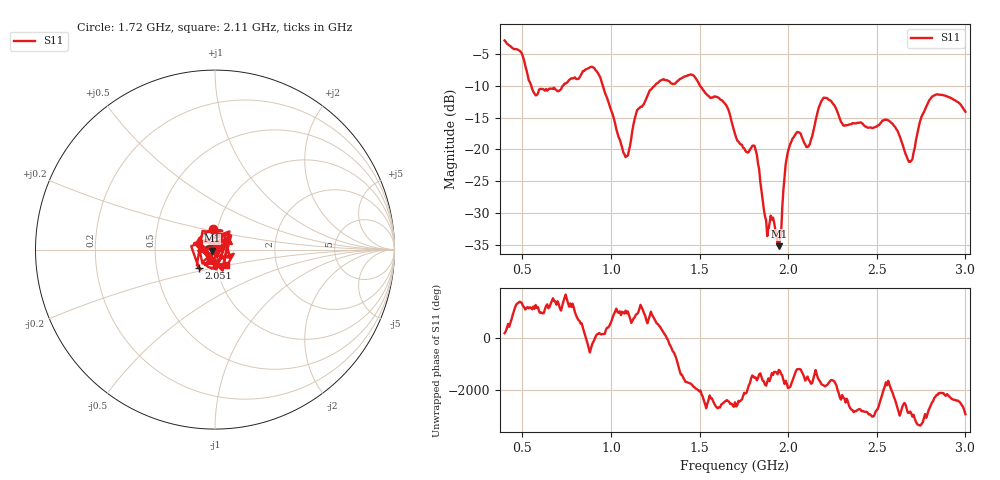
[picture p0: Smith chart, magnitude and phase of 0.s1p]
!Created with skrf (http://scikit-rf.org).
# Hz S RI R 50.0
!freq ReS11 ImS11
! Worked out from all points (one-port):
!   401 points, 400 MHz to 3 GHz, reference 50 ohm
!   lowest |S11| = -35.2 dB at 1.947 GHz (marker M1), VSWR 1.04, Z = 48.4 - j0.624 ohm
!   |S11| at or under -10 dB: 550.7 MHz to 728 MHz (177.3 MHz wide, 27.7 % of centre); 954 MHz to 1.246 GHz (291.7 MHz wide, 26.5 % of centre); 1.503 GHz to end of sweep
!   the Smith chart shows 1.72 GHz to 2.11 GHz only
!   S11 on the Smith chart (normalised r, x): 1.72 GHz: 0.95, +0.22; 2.051 GHz: 0.82, -0.17; 2.11 GHz: 1.12, -0.19
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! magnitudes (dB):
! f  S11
! 400 MHz  -2.8
! 491 MHz  -4.6
! 569 MHz  -11.2
! 725 MHz  -10.1
! 907 MHz  -7.2
! 1.05 GHz  -18.4
! 1.089 GHz  -21.1
! 1.147 GHz  -13.8
! 1.226 GHz  -10.6
! 1.375 GHz  -9.2
! 1.46 GHz  -8.3
! 1.629 GHz  -12.3
! 1.7 GHz  -17.6
! 1.72 GHz  -18.8
! 1.81 GHz  -19.4
! 1.875 GHz  -31.2
! 1.915 GHz  -30.7
! 1.947 GHz  -35.2
! 1.992 GHz  -21.3
! 2.025 GHz  -18.3
! 2.051 GHz  -17.2
! 2.11 GHz  -19.6
! 2.207 GHz  -11.9
! 2.35 GHz  -16.1
! 2.571 GHz  -15.5
! 2.675 GHz  -21.6
! 2.812 GHz  -11.7
! 3 GHz  -14.1
